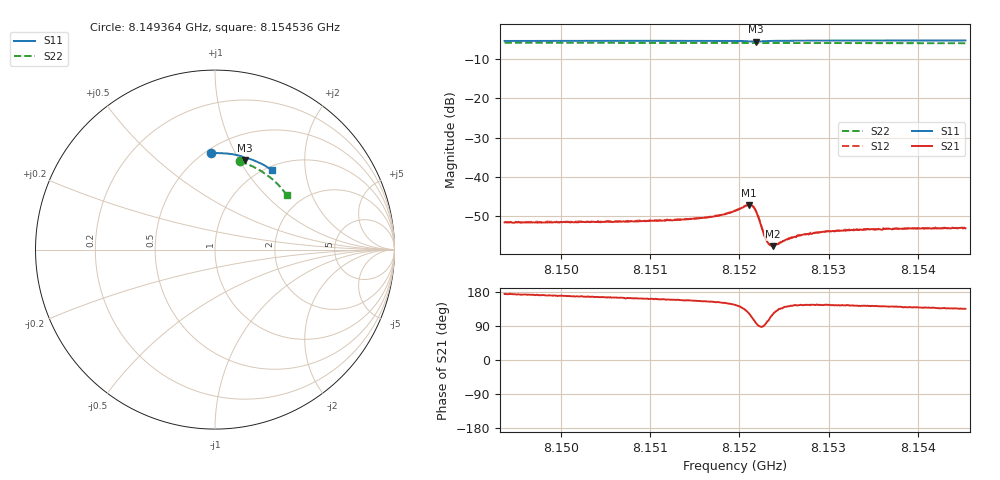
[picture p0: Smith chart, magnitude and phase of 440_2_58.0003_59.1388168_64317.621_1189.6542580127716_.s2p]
#  HZ  S  RI  R  50.00
! Rohde & Schwarz Vector Network Analyzer
! Rohde-Schwarz,ZNB20-2Port,1311601062101988,3.16
! Created: UTC 3/21/2024, 1:10:01 AM
! freq[Hz]  re:S11  im:S11  re:S21  im:S21  re:S12  im:S12  re:S22  im:S22
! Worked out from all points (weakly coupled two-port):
!   401 points, 8.149364 GHz to 8.154536 GHz, reference 50 ohm
!   highest |S21| = -47.14 dB at 8.152105 GHz (marker M1); lowest = -57.7 dB at 8.152377 GHz (marker M2)
!   lowest |S11| = -5.6 dB at 8.152183 GHz (marker M3), VSWR 3.23, Z = 38.3 + j53 ohm
!   |S11| at or under -10 dB: nowhere
!   |S22| runs from -6.0 to -5.8 dB; largest |S21 - S12| = 0.00012
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8.1493642e9  -0.0195 0.537  -0.00261 0.00027  -0.00264 0.000328  0.1392 0.4911
8.1502304e9  0.0409 0.5373  -0.00261 0.000538  -0.00263 0.000602  0.1915 0.4718
8.1505666e9  0.0643 0.5355  -0.00257 0.000715  -0.00258 0.000754  0.2112 0.463
8.1510967e9  0.1011 0.5307  -0.0026 0.00094  -0.00263 0.000972  0.2413 0.447
8.1516138e9  0.1373 0.5229  -0.00273 0.00128  -0.00274 0.00132  0.2693 0.4298
8.1517819e9  0.1493 0.5193  -0.00286 0.00153  -0.00285 0.00156  0.2783 0.4238
8.15195e9  0.1621 0.5141  -0.00303 0.00209  -0.00301 0.00216  0.2869 0.4175
8.1521051e9  0.171 0.5034  -0.00241 0.00368  -0.00235 0.00372  0.2947 0.4113
8.1521439e9  0.1699 0.5003  -0.00155 0.004  -0.00149 0.004  0.2965 0.4098
8.1521827e9  0.1673 0.5  -0.000527 0.00366  -0.000484 0.00373  0.2983 0.4085
8.1522086e9  0.1664 0.5016  -7.33e-05 0.00314  -8.08e-05 0.0032  0.2994 0.4077
8.1522732e9  0.1691 0.5062  -2.36e-06 0.00186  -4.52e-08 0.00188  0.3027 0.4054
8.1522991e9  0.1713 0.5073  -0.000199 0.00157  -0.000149 0.00159  0.304 0.4042
8.1523379e9  0.175 0.5081  -0.00045 0.00129  -0.000424 0.00133  0.3062 0.403
8.1523767e9  0.1782 0.5082  -0.00068 0.00112  -0.000644 0.00116  0.3082 0.4013
8.1525964e9  0.1958 0.5049  -0.00136 0.00102  -0.00134 0.00101  0.3189 0.3925
8.152674e9  0.2014 0.503  -0.00147 0.00104  -0.00146 0.00103  0.3226 0.3894
8.1528162e9  0.2111 0.4995  -0.00155 0.00107  -0.00155 0.00111  0.3295 0.3833
8.1529585e9  0.2208 0.4958  -0.00165 0.00113  -0.00162 0.00116  0.336 0.3773
8.1532558e9  0.24 0.4876  -0.0017 0.00124  -0.0017 0.00128  0.3495 0.3641
8.1536825e9  0.2667 0.4742  -0.00169 0.00138  -0.00169 0.00139  0.3678 0.3444
8.1545358e9  0.3169 0.4437  -0.00156 0.00156  -0.00156 0.00159  0.4013 0.3025
